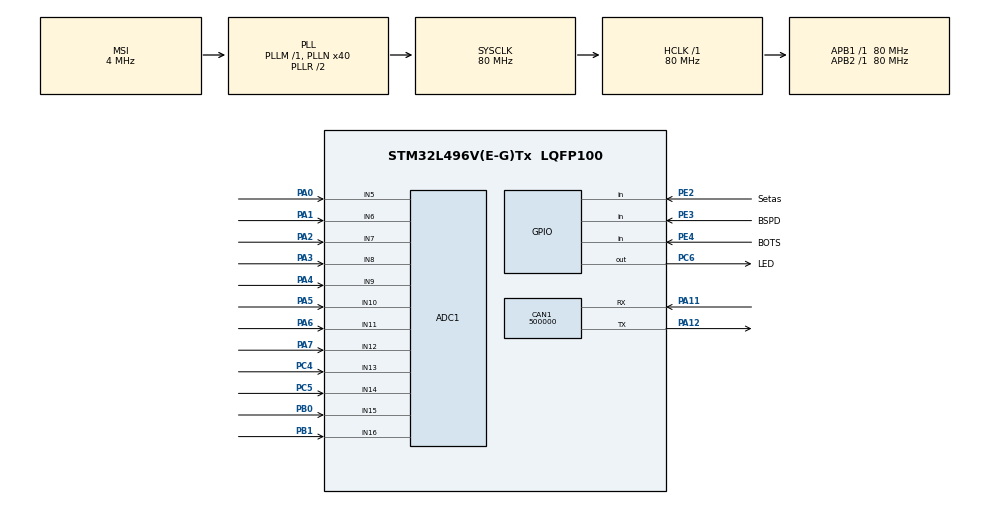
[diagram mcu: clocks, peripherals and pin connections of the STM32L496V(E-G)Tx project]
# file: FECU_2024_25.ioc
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ADC1.Channel-0\#ChannelRegularConversion=ADC_CHANNEL_5
ADC1.Channel-1\#ChannelRegularConversion=ADC_CHANNEL_6
ADC1.Channel-10\#ChannelRegularConversion=ADC_CHANNEL_15
ADC1.Channel-11\#ChannelRegularConversion=ADC_CHANNEL_16
ADC1.Channel-2\#ChannelRegularConversion=ADC_CHANNEL_7
ADC1.Channel-3\#ChannelRegularConversion=ADC_CHANNEL_8
ADC1.Channel-4\#ChannelRegularConversion=ADC_CHANNEL_9
ADC1.Channel-5\#ChannelRegularConversion=ADC_CHANNEL_10
ADC1.Channel-6\#ChannelRegularConversion=ADC_CHANNEL_11
ADC1.Channel-7\#ChannelRegularConversion=ADC_CHANNEL_12
ADC1.Channel-8\#ChannelRegularConversion=ADC_CHANNEL_13
ADC1.Channel-9\#ChannelRegularConversion=ADC_CHANNEL_14
ADC1.ClockPrescaler=ADC_CLOCK_ASYNC_DIV16
ADC1.ContinuousConvMode=ENABLE
ADC1.DMAContinuousRequests=ENABLE
ADC1.ExternalTrigConv=ADC_EXTERNALTRIG_T8_TRGO
ADC1.NbrOfConversion=12
ADC1.NbrOfConversionFlag=1
ADC1.OffsetNumber-0\#ChannelRegularConversion=ADC_OFFSET_NONE
ADC1.OffsetNumber-1\#ChannelRegularConversion=ADC_OFFSET_NONE
ADC1.OffsetNumber-10\#ChannelRegularConversion=ADC_OFFSET_NONE
ADC1.OffsetNumber-11\#ChannelRegularConversion=ADC_OFFSET_NONE
ADC1.OffsetNumber-2\#ChannelRegularConversion=ADC_OFFSET_NONE
ADC1.OffsetNumber-3\#ChannelRegularConversion=ADC_OFFSET_NONE
ADC1.OffsetNumber-4\#ChannelRegularConversion=ADC_OFFSET_NONE
ADC1.OffsetNumber-5\#ChannelRegularConversion=ADC_OFFSET_NONE
ADC1.OffsetNumber-6\#ChannelRegularConversion=ADC_OFFSET_NONE
ADC1.OffsetNumber-7\#ChannelRegularConversion=ADC_OFFSET_NONE
ADC1.OffsetNumber-8\#ChannelRegularConversion=ADC_OFFSET_NONE
ADC1.OffsetNumber-9\#ChannelRegularConversion=ADC_OFFSET_NONE
ADC1.Rank-0\#ChannelRegularConversion=1
ADC1.Rank-1\#ChannelRegularConversion=2
ADC1.Rank-10\#ChannelRegularConversion=11
ADC1.Rank-11\#ChannelRegularConversion=12
ADC1.Rank-2\#ChannelRegularConversion=3
ADC1.Rank-3\#ChannelRegularConversion=4
ADC1.Rank-4\#ChannelRegularConversion=5
ADC1.Rank-5\#ChannelRegularConversion=6
ADC1.Rank-6\#ChannelRegularConversion=7
ADC1.Rank-7\#ChannelRegularConversion=8
ADC1.Rank-8\#ChannelRegularConversion=9
ADC1.Rank-9\#ChannelRegularConversion=10
ADC1.SamplingTime-0\#ChannelRegularConversion=ADC_SAMPLETIME_24CYCLES_5
ADC1.SamplingTime-1\#ChannelRegularConversion=ADC_SAMPLETIME_24CYCLES_5
ADC1.SamplingTime-10\#ChannelRegularConversion=ADC_SAMPLETIME_24CYCLES_5
ADC1.SamplingTime-11\#ChannelRegularConversion=ADC_SAMPLETIME_24CYCLES_5
ADC1.SamplingTime-2\#ChannelRegularConversion=ADC_SAMPLETIME_24CYCLES_5
ADC1.SamplingTime-3\#ChannelRegularConversion=ADC_SAMPLETIME_24CYCLES_5
ADC1.SamplingTime-4\#ChannelRegularConversion=ADC_SAMPLETIME_24CYCLES_5
ADC1.SamplingTime-5\#ChannelRegularConversion=ADC_SAMPLETIME_24CYCLES_5
ADC1.SamplingTime-6\#ChannelRegularConversion=ADC_SAMPLETIME_24CYCLES_5
ADC1.SamplingTime-7\#ChannelRegularConversion=ADC_SAMPLETIME_24CYCLES_5
ADC1.SamplingTime-8\#ChannelRegularConversion=ADC_SAMPLETIME_24CYCLES_5
ADC1.SamplingTime-9\#ChannelRegularConversion=ADC_SAMPLETIME_24CYCLES_5
ADC1.master=1
CAN1.BS1=CAN_BS1_6TQ
CAN1.BS2=CAN_BS2_3TQ
CAN1.CalculateBaudRate=500000
CAN1.CalculateTimeBit=2000
CAN1.CalculateTimeQuantum=200.0
CAN1.NART=ENABLE
Dma.ADC1.0.Direction=DMA_PERIPH_TO_MEMORY
Dma.ADC1.0.Instance=DMA1_Channel1
Dma.ADC1.0.MemDataAlignment=DMA_MDATAALIGN_HALFWORD
Dma.ADC1.0.MemInc=DMA_MINC_ENABLE
Dma.ADC1.0.Mode=DMA_CIRCULAR
Dma.ADC1.0.PeriphDataAlignment=DMA_PDATAALIGN_HALFWORD
Dma.ADC1.0.PeriphInc=DMA_PINC_DISABLE
Dma.ADC1.0.Priority=DMA_PRIORITY_MEDIUM
Dma.Request0=ADC1
FREERTOS.Tasks01=CAN,2,200,StartCAN,Default,NULL,Dynamic,NULL,NULL;ADC,0,200,StartADC,Default,NULL,Dynamic,NULL,NULL;Shutdown,-1,200,StartShutdown,Default,NULL,Dynamic,NULL,NULL
FREERTOS.configUSE_NEWLIB_REENTRANT=1
Mcu.Family=STM32L4
Mcu.Name=STM32L496V(E-G)Tx
Mcu.Package=LQFP100
NVIC.ADC1_2_IRQn=true\:5\:0\:false\:false\:true\:true\:true\:true\:true
NVIC.DMA1_Channel1_IRQn=true\:5\:0\:false\:false\:true\:true\:false\:true\:true
NVIC.PriorityGroup=NVIC_PRIORITYGROUP_4
NVIC.TIM4_IRQn=true\:15\:0\:false\:false\:true\:false\:false\:true\:true
NVIC.TimeBase=TIM4_IRQn
NVIC.TimeBaseIP=TIM4
PA0.Signal=ADCx_IN5
PA1.Signal=ADCx_IN6
PA11.Mode=CAN_Activate
PA11.Signal=CAN1_RX
PA12.Mode=CAN_Activate
PA12.Signal=CAN1_TX
PA2.Signal=ADCx_IN7
PA3.Signal=ADCx_IN8
PA4.Signal=ADCx_IN9
PA5.Signal=ADCx_IN10
PA6.Signal=ADCx_IN11
PA7.Signal=ADCx_IN12
PB0.Signal=ADCx_IN15
PB1.Signal=ADCx_IN16
PC4.Signal=ADCx_IN13
PC5.Signal=ADCx_IN14
PC6.GPIO_Label=LED
PC6.Signal=GPIO_Output
PE2.GPIO_Label=Setas
PE2.Signal=GPIO_Input
PE3.GPIO_Label=BSPD
PE3.Signal=GPIO_Input
PE4.GPIO_Label=BOTS
PE4.Signal=GPIO_Input
ProjectManager.HeapSize=0x200
ProjectManager.StackSize=0x400
ProjectManager.TargetToolchain=STM32CubeIDE
RCC.ADCFreq_Value=32000000
RCC.AHBFreq_Value=80000000
RCC.APB1Freq_Value=80000000
RCC.APB1TimFreq_Value=80000000
RCC.APB2Freq_Value=80000000
RCC.APB2TimFreq_Value=80000000
RCC.CortexFreq_Value=80000000
RCC.HCLKFreq_Value=80000000
RCC.HSE_VALUE=8000000
RCC.HSI48_VALUE=48000000
RCC.HSI_VALUE=16000000
RCC.LSE_VALUE=32768
RCC.MSI_VALUE=4000000
RCC.PLLN=40
RCC.PLLSAI1N=16
RCC.SYSCLKFreq_VALUE=80000000
RCC.SYSCLKSource=RCC_SYSCLKSOURCE_PLLCLK
RCC.USBFreq_Value=32000000
RCC.VCOOutputFreq_Value=160000000
SH.ADCx_IN10.0=ADC1_IN10,IN10-Single-Ended
SH.ADCx_IN11.0=ADC1_IN11,IN11-Single-Ended
SH.ADCx_IN12.0=ADC1_IN12,IN12-Single-Ended
SH.ADCx_IN13.0=ADC1_IN13,IN13-Single-Ended
SH.ADCx_IN14.0=ADC1_IN14,IN14-Single-Ended
SH.ADCx_IN15.0=ADC1_IN15,IN15-Single-Ended
SH.ADCx_IN16.0=ADC1_IN16,IN16-Single-Ended
SH.ADCx_IN5.0=ADC1_IN5,IN5-Single-Ended
SH.ADCx_IN6.0=ADC1_IN6,IN6-Single-Ended
SH.ADCx_IN7.0=ADC1_IN7,IN7-Single-Ended
SH.ADCx_IN8.0=ADC1_IN8,IN8-Single-Ended
SH.ADCx_IN9.0=ADC1_IN9,IN9-Single-Ended
TIM8.Prescaler=20
TIM8.TIM_MasterOutputTrigger=TIM_TRGO_UPDATE
TIM8.TIM_MasterOutputTrigger2=TIM_TRGO2_UPDATE
VP_FREERTOS_VS_CMSIS_V1.Mode=CMSIS_V1
VP_SYS_VS_tim4.Mode=TIM4
VP_TIM8_VS_ClockSourceINT.Mode=Internal
board=custom

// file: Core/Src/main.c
/* USER CODE BEGIN Header */
/**
  ******************************************************************************
  * @file           : main.c
  * @brief          : Main program body
  ******************************************************************************
  * @attention
  *
  * Copyright (c) 2025 STMicroelectronics.
  * All rights reserved.
  *
  * This software is licensed under terms that can be found in the LICENSE file
  * in the root directory of this software component.
  * If no LICENSE file comes with this software, it is provided AS-IS.
  *
  ******************************************************************************
  */
/* USER CODE END Header */
#include "main.h"
#include "cmsis_os.h"

/* USER CODE BEGIN Includes */
#include "CAN_X_2025.h"
#include "CAN.h"
/* USER CODE END Includes */

ADC_HandleTypeDef hadc1;
DMA_HandleTypeDef hdma_adc1;

CAN_HandleTypeDef hcan1;

TIM_HandleTypeDef htim8;

osThreadId CANHandle;
osThreadId ADCHandle;
osThreadId ShutdownHandle;
/* USER CODE BEGIN PV */
// Adc
uint16_t adc_buffer[12];
// Can

uint8_t RxData[8];

CAN_RxHeaderTypeDef RxHeader;

typedef enum {
	STAT_FECU_Keep_Alive,
	RAW_FECU_Data1,
	RAW_FECU_Data2,
}STATES;

STATES CAN_FSM_STATE;
uint8_t flag;
uint8_t CANcount;

/* USER CODE END PV */

void SystemClock_Config(void);
static void MX_GPIO_Init(void);
static void MX_DMA_Init(void);
static void MX_ADC1_Init(void);
static void MX_CAN1_Init(void);
static void MX_TIM8_Init(void);
void StartCAN(void const * argument);
void StartADC(void const * argument);
void StartShutdown(void const * argument);

int main(void)
{

  /* MCU Configuration--------------------------------------------------------*/

  /* Reset of all peripherals, Initializes the Flash interface and the Systick. */
  HAL_Init();

  /* Configure the system clock */
  SystemClock_Config();

  /* Initialize all configured peripherals */
  MX_GPIO_Init();
  MX_DMA_Init();
  MX_ADC1_Init();
  MX_CAN1_Init();
  MX_TIM8_Init();
  /* USER CODE BEGIN 2 */
  flag = 0;
  Front_Alive = 0;
  //-------------StartCAN---------------------------
  HAL_CAN_Start(&hcan1);
//  HAL_CAN_ActivateNotification(&hcan1, CAN_IT_RX_FIFO0_MSG_PENDING);
  Init_CAN_Filter(&hcan1);
  HAL_Delay(100);

  //-------------StartDMA---------------------------
  HAL_ADC_Start_DMA(&hadc1,(uint32_t*) adc_buffer, 12);
  HAL_TIM_Base_Start(&htim8);

  CAN_FSM_STATE = STAT_FECU_Keep_Alive;
  /* USER CODE END 2 */

  /* Create the thread(s) */
  /* definition and creation of CAN */
  osThreadDef(CAN, StartCAN, osPriorityHigh, 0, 200);
  CANHandle = osThreadCreate(osThread(CAN), NULL);

  /* definition and creation of ADC */
  osThreadDef(ADC, StartADC, osPriorityNormal, 0, 200);
  ADCHandle = osThreadCreate(osThread(ADC), NULL);

  /* definition and creation of Shutdown */
  osThreadDef(Shutdown, StartShutdown, osPriorityBelowNormal, 0, 200);
  ShutdownHandle = osThreadCreate(osThread(Shutdown), NULL);

  /* Start scheduler */
  osKernelStart();

  /* We should never get here as control is now taken by the scheduler */

  /* Infinite loop */
  while (1)
  {

  }
}

void SystemClock_Config(void)
{
  RCC_OscInitTypeDef RCC_OscInitStruct = {0};
  RCC_ClkInitTypeDef RCC_ClkInitStruct = {0};

  /** Configure the main internal regulator output voltage
  */
  if (HAL_PWREx_ControlVoltageScaling(PWR_REGULATOR_VOLTAGE_SCALE1) != HAL_OK)
  {
    Error_Handler();
  }

  /** Initializes the RCC Oscillators according to the specified parameters
  * in the RCC_OscInitTypeDef structure.
  */
  RCC_OscInitStruct.OscillatorType = RCC_OSCILLATORTYPE_MSI;
  RCC_OscInitStruct.MSIState = RCC_MSI_ON;
  RCC_OscInitStruct.MSICalibrationValue = 0;
  RCC_OscInitStruct.MSIClockRange = RCC_MSIRANGE_6;
  RCC_OscInitStruct.PLL.PLLState = RCC_PLL_ON;
  RCC_OscInitStruct.PLL.PLLSource = RCC_PLLSOURCE_MSI;
  RCC_OscInitStruct.PLL.PLLM = 1;
  RCC_OscInitStruct.PLL.PLLN = 40;
  RCC_OscInitStruct.PLL.PLLP = RCC_PLLP_DIV2;
  RCC_OscInitStruct.PLL.PLLQ = RCC_PLLQ_DIV2;
  RCC_OscInitStruct.PLL.PLLR = RCC_PLLR_DIV2;
  if (HAL_RCC_OscConfig(&RCC_OscInitStruct) != HAL_OK)
  {
    Error_Handler();
  }

  /** Initializes the CPU, AHB and APB buses clocks
  */
  RCC_ClkInitStruct.ClockType = RCC_CLOCKTYPE_HCLK|RCC_CLOCKTYPE_SYSCLK
                              |RCC_CLOCKTYPE_PCLK1|RCC_CLOCKTYPE_PCLK2;
  RCC_ClkInitStruct.SYSCLKSource = RCC_SYSCLKSOURCE_PLLCLK;
  RCC_ClkInitStruct.AHBCLKDivider = RCC_SYSCLK_DIV1;
  RCC_ClkInitStruct.APB1CLKDivider = RCC_HCLK_DIV1;
  RCC_ClkInitStruct.APB2CLKDivider = RCC_HCLK_DIV1;

  if (HAL_RCC_ClockConfig(&RCC_ClkInitStruct, FLASH_LATENCY_4) != HAL_OK)
  {
    Error_Handler();
  }
}

static void MX_ADC1_Init(void)
{

  ADC_MultiModeTypeDef multimode = {0};
  ADC_ChannelConfTypeDef sConfig = {0};

  /** Common config
  */
  hadc1.Instance = ADC1;
  hadc1.Init.ClockPrescaler = ADC_CLOCK_ASYNC_DIV16;
  hadc1.Init.Resolution = ADC_RESOLUTION_12B;
  hadc1.Init.DataAlign = ADC_DATAALIGN_RIGHT;
  hadc1.Init.ScanConvMode = ADC_SCAN_ENABLE;
  hadc1.Init.EOCSelection = ADC_EOC_SINGLE_CONV;
  hadc1.Init.LowPowerAutoWait = DISABLE;
  hadc1.Init.ContinuousConvMode = ENABLE;
  hadc1.Init.NbrOfConversion = 12;
  hadc1.Init.DiscontinuousConvMode = DISABLE;
  hadc1.Init.ExternalTrigConv = ADC_EXTERNALTRIG_T8_TRGO;
  hadc1.Init.ExternalTrigConvEdge = ADC_EXTERNALTRIGCONVEDGE_RISING;
  hadc1.Init.DMAContinuousRequests = ENABLE;
  hadc1.Init.Overrun = ADC_OVR_DATA_PRESERVED;
  hadc1.Init.OversamplingMode = DISABLE;
  if (HAL_ADC_Init(&hadc1) != HAL_OK)
  {
    Error_Handler();
  }

  /** Configure the ADC multi-mode
  */
  multimode.Mode = ADC_MODE_INDEPENDENT;
  if (HAL_ADCEx_MultiModeConfigChannel(&hadc1, &multimode) != HAL_OK)
  {
    Error_Handler();
  }

  /** Configure Regular Channel
  */
  sConfig.Channel = ADC_CHANNEL_5;
  sConfig.Rank = ADC_REGULAR_RANK_1;
  sConfig.SamplingTime = ADC_SAMPLETIME_24CYCLES_5;
  sConfig.SingleDiff = ADC_SINGLE_ENDED;
  sConfig.OffsetNumber = ADC_OFFSET_NONE;
  sConfig.Offset = 0;
  if (HAL_ADC_ConfigChannel(&hadc1, &sConfig) != HAL_OK)
  {
    Error_Handler();
  }

  /** Configure Regular Channel
  */
  sConfig.Channel = ADC_CHANNEL_6;
  sConfig.Rank = ADC_REGULAR_RANK_2;
  if (HAL_ADC_ConfigChannel(&hadc1, &sConfig) != HAL_OK)
  {
    Error_Handler();
  }

  /** Configure Regular Channel
  */
  sConfig.Channel = ADC_CHANNEL_7;
  sConfig.Rank = ADC_REGULAR_RANK_3;
  if (HAL_ADC_ConfigChannel(&hadc1, &sConfig) != HAL_OK)
  {
    Error_Handler();
  }

  /** Configure Regular Channel
  */
  sConfig.Channel = ADC_CHANNEL_8;
  sConfig.Rank = ADC_REGULAR_RANK_4;
  if (HAL_ADC_ConfigChannel(&hadc1, &sConfig) != HAL_OK)
  {
    Error_Handler();
  }

  /** Configure Regular Channel
  */
  sConfig.Channel = ADC_CHANNEL_9;
  sConfig.Rank = ADC_REGULAR_RANK_5;
  if (HAL_ADC_ConfigChannel(&hadc1, &sConfig) != HAL_OK)
  {
    Error_Handler();
  }

  /** Configure Regular Channel
  */
  sConfig.Channel = ADC_CHANNEL_10;
  sConfig.Rank = ADC_REGULAR_RANK_6;
  if (HAL_ADC_ConfigChannel(&hadc1, &sConfig) != HAL_OK)
  {
    Error_Handler();
  }

  /** Configure Regular Channel
  */
  sConfig.Channel = ADC_CHANNEL_11;
  sConfig.Rank = ADC_REGULAR_RANK_7;
  if (HAL_ADC_ConfigChannel(&hadc1, &sConfig) != HAL_OK)
  {
    Error_Handler();
  }

  /** Configure Regular Channel
  */
  sConfig.Channel = ADC_CHANNEL_12;
  sConfig.Rank = ADC_REGULAR_RANK_8;
  if (HAL_ADC_ConfigChannel(&hadc1, &sConfig) != HAL_OK)
  {
    Error_Handler();
  }

  /** Configure Regular Channel
  */
  sConfig.Channel = ADC_CHANNEL_13;
  sConfig.Rank = ADC_REGULAR_RANK_9;
  if (HAL_ADC_ConfigChannel(&hadc1, &sConfig) != HAL_OK)
  {
    Error_Handler();
  }

  /** Configure Regular Channel
  */
  sConfig.Channel = ADC_CHANNEL_14;
  sConfig.Rank = ADC_REGULAR_RANK_10;
  if (HAL_ADC_ConfigChannel(&hadc1, &sConfig) != HAL_OK)
  {
    Error_Handler();
  }

  /** Configure Regular Channel
  */
  sConfig.Channel = ADC_CHANNEL_15;
  sConfig.Rank = ADC_REGULAR_RANK_11;
  if (HAL_ADC_ConfigChannel(&hadc1, &sConfig) != HAL_OK)
  {
    Error_Handler();
  }

  /** Configure Regular Channel
  */
  sConfig.Channel = ADC_CHANNEL_16;
  sConfig.Rank = ADC_REGULAR_RANK_12;
  if (HAL_ADC_ConfigChannel(&hadc1, &sConfig) != HAL_OK)
  {
    Error_Handler();
  }

}

static void MX_CAN1_Init(void)
{

  hcan1.Instance = CAN1;
  hcan1.Init.Prescaler = 16;
  hcan1.Init.Mode = CAN_MODE_NORMAL;
  hcan1.Init.SyncJumpWidth = CAN_SJW_1TQ;
  hcan1.Init.TimeSeg1 = CAN_BS1_6TQ;
  hcan1.Init.TimeSeg2 = CAN_BS2_3TQ;
  hcan1.Init.TimeTriggeredMode = DISABLE;
  hcan1.Init.AutoBusOff = DISABLE;
  hcan1.Init.AutoWakeUp = DISABLE;
  hcan1.Init.AutoRetransmission = ENABLE;
  hcan1.Init.ReceiveFifoLocked = DISABLE;
  hcan1.Init.TransmitFifoPriority = DISABLE;
  if (HAL_CAN_Init(&hcan1) != HAL_OK)
  {
    Error_Handler();
  }

}

static void MX_TIM8_Init(void)
{

  TIM_ClockConfigTypeDef sClockSourceConfig = {0};
  TIM_MasterConfigTypeDef sMasterConfig = {0};

  htim8.Instance = TIM8;
  htim8.Init.Prescaler = 20;
  htim8.Init.CounterMode = TIM_COUNTERMODE_UP;
  htim8.Init.Period = 65535;
  htim8.Init.ClockDivision = TIM_CLOCKDIVISION_DIV1;
  htim8.Init.RepetitionCounter = 0;
  htim8.Init.AutoReloadPreload = TIM_AUTORELOAD_PRELOAD_DISABLE;
  if (HAL_TIM_Base_Init(&htim8) != HAL_OK)
  {
    Error_Handler();
  }
  sClockSourceConfig.ClockSource = TIM_CLOCKSOURCE_INTERNAL;
  if (HAL_TIM_ConfigClockSource(&htim8, &sClockSourceConfig) != HAL_OK)
  {
    Error_Handler();
  }
  sMasterConfig.MasterOutputTrigger = TIM_TRGO_UPDATE;
  sMasterConfig.MasterOutputTrigger2 = TIM_TRGO2_UPDATE;
  sMasterConfig.MasterSlaveMode = TIM_MASTERSLAVEMODE_DISABLE;
  if (HAL_TIMEx_MasterConfigSynchronization(&htim8, &sMasterConfig) != HAL_OK)
  {
    Error_Handler();
  }

}

static void MX_DMA_Init(void)
{

  /* DMA controller clock enable */
  __HAL_RCC_DMA1_CLK_ENABLE();

  /* DMA interrupt init */
  /* DMA1_Channel1_IRQn interrupt configuration */
  HAL_NVIC_SetPriority(DMA1_Channel1_IRQn, 5, 0);
  HAL_NVIC_EnableIRQ(DMA1_Channel1_IRQn);

}

static void MX_GPIO_Init(void)
{
  GPIO_InitTypeDef GPIO_InitStruct = {0};

  /* GPIO Ports Clock Enable */
  __HAL_RCC_GPIOE_CLK_ENABLE();
  __HAL_RCC_GPIOA_CLK_ENABLE();
  __HAL_RCC_GPIOC_CLK_ENABLE();
  __HAL_RCC_GPIOB_CLK_ENABLE();

  /*Configure GPIO pin Output Level */
  HAL_GPIO_WritePin(LED_GPIO_Port, LED_Pin, GPIO_PIN_RESET);

  /*Configure GPIO pins : Setas_Pin BSPD_Pin BOTS_Pin */
  GPIO_InitStruct.Pin = Setas_Pin|BSPD_Pin|BOTS_Pin;
  GPIO_InitStruct.Mode = GPIO_MODE_INPUT;
  GPIO_InitStruct.Pull = GPIO_NOPULL;
  HAL_GPIO_Init(GPIOE, &GPIO_InitStruct);

  /*Configure GPIO pin : LED_Pin */
  GPIO_InitStruct.Pin = LED_Pin;
  GPIO_InitStruct.Mode = GPIO_MODE_OUTPUT_PP;
  GPIO_InitStruct.Pull = GPIO_NOPULL;
  GPIO_InitStruct.Speed = GPIO_SPEED_FREQ_LOW;
  HAL_GPIO_Init(LED_GPIO_Port, &GPIO_InitStruct);

}

void StartCAN(void const * argument)
{
  /* USER CODE BEGIN 5 */
  /* Infinite loop */
  for(;;)
  {
	  error_handle();
	  if (CANcount == 9) {
		  Front_Alive ++;
		  message_cantx_RAW_FECU_Data2(hcan1);
		  message_cantx_RAW_FECU_Data1(hcan1);
		  message_cantx_STAT_FECU_Keep_Alive(hcan1);
		  CANcount = 0;
	  } else if (CANcount == 4) {
		  Front_Alive ++;
		  message_cantx_STAT_FECU_Keep_Alive(hcan1);
		  message_cantx_RAW_FECU_Data1(hcan1);
		  CANcount ++;
	  } else {
		  message_cantx_RAW_FECU_Data1(hcan1);
		  CANcount ++;
	  }
	  vTaskDelay(10);

//	  switch (CAN_FSM_STATE) {
//	  case STAT_FECU_Keep_Alive:
//		  Front_Alive ++;
//		  message_cantx_STAT_FECU_Keep_Alive(TxHeader, hcan1, TxMailbox, TxData);
//		  CAN_FSM_STATE = RAW_FECU_Data1;
//		  vTaskDelay(5);
//	  break;
//	  case RAW_FECU_Data1:
//		  message_cantx_RAW_FECU_Data1(TxHeader, hcan1, TxMailbox, TxData);
//		  CAN_FSM_STATE = RAW_FECU_Data2;
//		  vTaskDelay(5);
//	  break;
//	  case RAW_FECU_Data2:
//		  message_cantx_RAW_FECU_Data2(TxHeader, hcan1, TxMailbox, TxData);
//		  CAN_FSM_STATE = STAT_FECU_Keep_Alive;
//		  vTaskDelay(15);
//	  break;
//  	  }

//	  message_cantx_STAT_FECU_Keep_Alive(TxHeader, hcan1, TxMailbox, TxData);
//	  message_cantx_RAW_FECU_Data1(TxHeader, hcan1, TxMailbox, TxData);
//	  message_cantx_RAW_FECU_Data2(TxHeader, hcan1, TxMailbox, TxData);
//	  vTaskDelay(25);

  }
  /* USER CODE END 5 */
}

void StartADC(void const * argument)
{
  /* USER CODE BEGIN StartADC */
  /* Infinite loop */
  for(;;)
  {
	  BrakePressure1_Bits = adc_buffer[11];
	  BrakePressure2_Bits = adc_buffer[7];
	  Pitot_Bits = adc_buffer[8];
	  Susp_F_R_Bits = adc_buffer[9];
	  Susp_F_L_Bits = adc_buffer[10];
	  SteeringSensor_Bits = adc_buffer[0];
	  BrakePedal_Bits = adc_buffer[1];
	  APPS1_Bits = adc_buffer[3];
	  APPS2_Bits = adc_buffer[2];
	  FECU_LV  = adc_buffer[4];
	  FECU_5V  = adc_buffer[5];
	  FECU_3V3  = adc_buffer[6];
	vTaskDelay(10);
  }
  /* USER CODE END StartADC */
}

void StartShutdown(void const * argument)
{
  /* USER CODE BEGIN StartShutdown */
  /* Infinite loop */
  for(;;)
  {
	  Shutdown_Setas = HAL_GPIO_ReadPin(Setas_GPIO_Port, Setas_Pin);
	  Shutdown_SC_BOTS = HAL_GPIO_ReadPin(BOTS_GPIO_Port, BOTS_Pin);
	  Shutdown_BSPD_Inertia = HAL_GPIO_ReadPin(BSPD_GPIO_Port, BSPD_Pin);
    vTaskDelay(10);
  }
  /* USER CODE END StartShutdown */
}

void HAL_TIM_PeriodElapsedCallback(TIM_HandleTypeDef *htim)
{
  if (htim->Instance == TIM4) {
    HAL_IncTick();
  }
}

void Error_Handler(void)
{
  __disable_irq();
  while (1)
  {
  }
}
